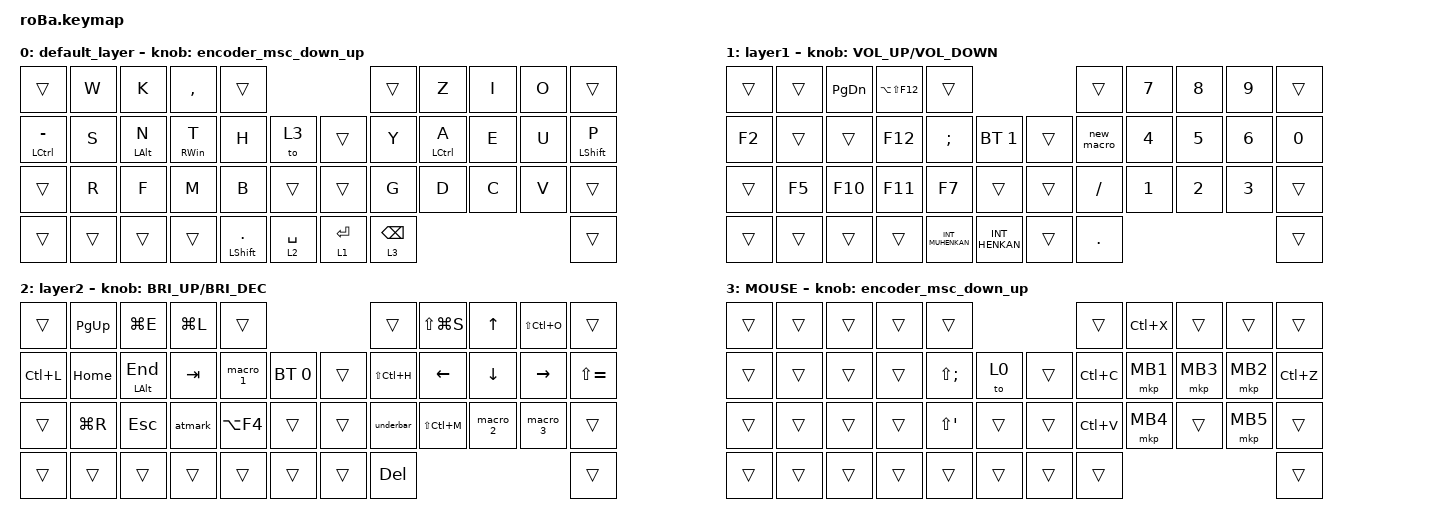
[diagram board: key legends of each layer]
#include <behaviors.dtsi>
#include <dt-bindings/zmk/bt.h>
#include <dt-bindings/zmk/keys.h>
#include <dt-bindings/zmk/pointing.h>

#define ZMK_POINTING_DEFAULT_SCRL_VAL 80

&mt {
    flavor = "balanced";
    quick-tap-ms = <0>;
};

&trackball {
    automouse-layer = <3>;
    scroll-layers = <4>;

    // arrows {
    //     layers = <3>;
    //     bindings =
    //         <&kp RIGHT_ARROW>,
    //         <&kp LEFT_ARROW>,
    //         <&kp UP_ARROW>,
    //         <&kp DOWN_ARROW>;
    //     tick = <10>;
    //     wait-ms = <5>;
    //     tap-ms = <5>;
    // };
};

/ {
    combos {
        compatible = "zmk,combos";

        sample {
            bindings = <&kp LS(LC(F))>;
            key-positions = <24 23>;
            layers = <0>;
        };

        e {
            bindings = <&kp LS(LC(E))>;
            key-positions = <31 32>;
            layers = <0>;
        };

        h {
            bindings = <&kp INT_MUHENKAN>;
            key-positions = <12 13>;
            layers = <0>;
        };

        b {
            bindings = <&kp B>;
            key-positions = <24 25>;
            layers = <0>;
        };

        y {
            bindings = <&kp INT_HENKAN>;
            key-positions = <18 19>;
            layers = <0>;
        };

        g {
            bindings = <&kp G>;
            key-positions = <30 31>;
            layers = <0>;
        };

        commbo {
            bindings = <&new_macro>;
            key-positions = <19 18>;
            layers = <1>;
        };

        slash {
            bindings = <&kp SLASH>;
            key-positions = <30 31>;
            layers = <1>;
        };

        semicorron {
            bindings = <&kp SEMICOLON>;
            key-positions = <13 12>;
            layers = <1>;
        };

        f7 {
            bindings = <&kp F7>;
            key-positions = <25 24>;
            layers = <1>;
        };

        exitmeeting {
            bindings = <&kp LS(LC(H))>;
            key-positions = <18 19>;
            layers = <2>;
        };

        underbar {
            bindings = <&underbar>;
            key-positions = <31 30>;
            layers = <2>;
        };

        kakko {
            bindings = <&macro_1>;
            key-positions = <13 12>;
            layers = <2>;
        };

        finishapp {
            bindings = <&kp LA(F4)>;
            key-positions = <25 24>;
            layers = <2>;
        };

        l {
            bindings = <&kp L>;
            key-positions = <12 11>;
            layers = <0>;
        };

        q {
            bindings = <&kp Q>;
            key-positions = <1 2>;
        };

        j {
            bindings = <&kp J>;
            key-positions = <13 14>;
        };

        x {
            bindings = <&kp X>;
            key-positions = <6 7>;
            layers = <0>;
        };
    };

    macros {
        macro_1: to_layer_0 {
            compatible = "zmk,behavior-macro";
            #binding-cells = <0>;
            bindings = <&kp RIGHT_BRACKET &kp BACKSLASH &kp LEFT>;
            label = "TO_LAYER_0";
        };

        macro_2: macro_kakko {
            compatible = "zmk,behavior-macro";
            #binding-cells = <0>;
            bindings = <&kp INT_MUHENKAN &kp LS(N8) &kp LS(N9) &kp LEFT>;
            label = "MACRO_KAKKO";
        };

        macro_3: macro_3 {
            compatible = "zmk,behavior-macro";
            #binding-cells = <0>;
            bindings = <&kp INT_MUHENKAN &kp LS(COMMA) &kp LS(PERIOD) &kp LEFT>;
            label = "MACRO_3";
        };

        new_macro: new_macro {
            compatible = "zmk,behavior-macro";
            #binding-cells = <0>;
            bindings = <&kp INT_HENKAN &kp K &kp O &kp R &kp O &kp N &kp SPACE &kp ENTER &kp INT_MUHENKAN>;
            label = "NEW_MACRO";
        };

        underbar: underbar {
            compatible = "zmk,behavior-macro";
            #binding-cells = <0>;
            bindings = <&kp INT_HENKAN &kp A &kp N &kp N &kp D &kp A &kp MINUS &kp B &kp A &kp MINUS &kp SPACE &kp ENTER &kp INT_MUHENKAN>;
            label = "UNDERBAR";
        };

        atmark: atmark {
            compatible = "zmk,behavior-macro";
            #binding-cells = <0>;
            bindings = <&kp INT_MUHENKAN &kp LEFT_BRACKET>;
            label = "ATMARK";
        };
    };

    behaviors {
        lt_to_layer_0: lt_to_layer_0 {
            compatible = "zmk,behavior-hold-tap";
            label = "LAYER_TAP_TO_0";
            bindings = <&mo>, <&macro_1>;

            #binding-cells = <2>;
            tapping-term-ms = <200>;
        };

        encoder_msc_down_up: encoder_msc_down_up {
            compatible = "zmk,behavior-sensor-rotate";
            label = "ENCODER_MSC_DOWN_UP";
            #sensor-binding-cells = <0>;
            bindings = <&msc SCRL_UP>, <&msc SCRL_DOWN>;

            tap-ms = <20>;
        };
    };

    keymap {
        compatible = "zmk,keymap";

        default_layer {
            bindings = <
&trans           &kp W   &kp K           &kp COMMA   &trans                                               &trans           &kp Z               &kp I  &kp O  &trans
&mt LCTRL MINUS  &kp S   &mt LEFT_ALT N  &mt RWIN T  &kp H                  &to 3            &trans       &kp Y            &mt LEFT_CONTROL A  &kp E  &kp U  &mt LEFT_SHIFT P
&trans           &kp R   &kp F           &kp M       &kp B                  &trans           &trans       &kp G            &kp D               &kp C  &kp V  &trans
&trans           &trans  &trans          &trans      &mt LEFT_SHIFT PERIOD  &lt 2 SPACE      &lt 1 ENTER  &lt 3 BACKSPACE                                    &trans
            >;

            sensor-bindings = <&encoder_msc_down_up>;
        };

        layer1 {
            bindings = <
&trans  &trans  &kp PAGE_DOWN  &kp LA(LS(F12))  &trans                                        &trans      &kp N7        &kp N8  &kp N9        &trans
&kp F2  &trans  &trans         &kp F12          &kp SEMICOLON     &bt BT_SEL 1        &trans  &new_macro  &kp NUMBER_4  &kp N5  &kp NUMBER_6  &kp N0
&trans  &kp F5  &kp F10        &kp F11          &kp F7            &trans              &trans  &kp SLASH   &kp N1        &kp N2  &kp N3        &trans
&trans  &trans  &trans         &trans           &kp INT_MUHENKAN  &kp INT_HENKAN      &trans  &kp PERIOD                                      &trans
            >;

            sensor-bindings = <&inc_dec_kp C_VOLUME_UP C_VOLUME_DOWN>;
        };

        layer2 {
            bindings = <
&trans     &kp PAGE_UP  &kp LG(E)         &kp LG(L)  &trans                                &trans         &kp LS(LG(S))  &kp UP_ARROW  &kp LS(LC(O))  &trans
&kp LC(L)  &kp HOME     &mt LEFT_ALT END  &kp TAB    &macro_1    &bt BT_SEL 0      &trans  &kp LS(LC(H))  &kp LEFT       &kp DOWN      &kp RIGHT      &kp LS(EQUAL)
&trans     &kp LG(R)    &kp ESC           &atmark    &kp LA(F4)  &trans            &trans  &underbar      &kp LS(LC(M))  &macro_2      &macro_3       &trans
&trans     &trans       &trans            &trans     &trans      &trans            &trans  &kp DEL                                                    &trans
            >;

            sensor-bindings = <&inc_dec_kp C_BRI_UP C_BRI_DEC>;
        };

        MOUSE {
            bindings = <
&trans  &trans  &trans  &trans  &trans                                 &trans     &kp LC(X)  &trans    &trans    &trans
&trans  &trans  &trans  &trans  &kp LS(SEMICOLON)  &to 0       &trans  &kp LC(C)  &mkp MB1   &mkp MB3  &mkp MB2  &kp LC(Z)
&trans  &trans  &trans  &trans  &kp LS(SQT)        &trans      &trans  &kp LC(V)  &mkp MB4   &trans    &mkp MB5  &trans
&trans  &trans  &trans  &trans  &trans             &trans      &trans  &trans                                    &trans
            >;

            sensor-bindings = <&encoder_msc_down_up>;
        };
    };
};
